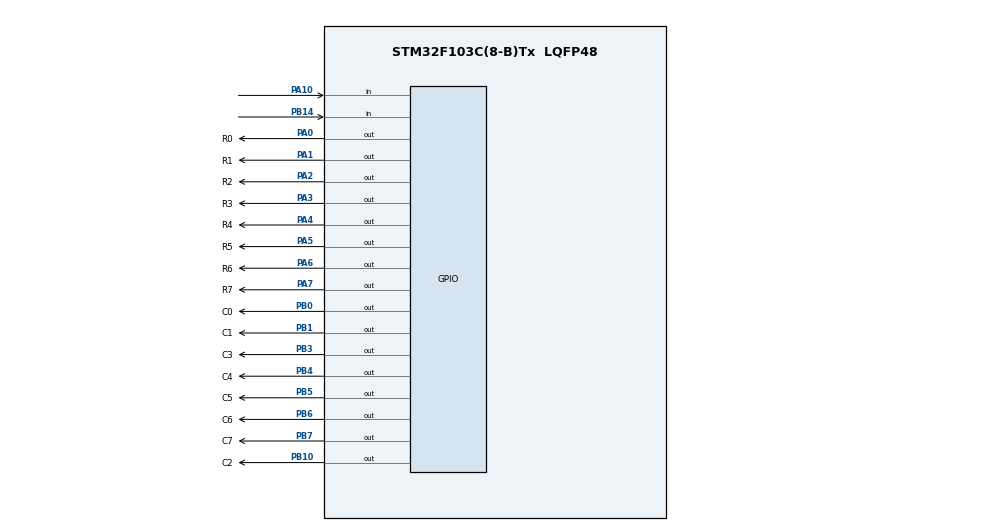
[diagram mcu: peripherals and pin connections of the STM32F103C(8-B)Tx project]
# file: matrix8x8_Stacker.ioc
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Mcu.Family=STM32F1
Mcu.Name=STM32F103C(8-B)Tx
Mcu.Package=LQFP48
NVIC.PriorityGroup=NVIC_PRIORITYGROUP_4
PA0-WKUP.GPIO_Label=R0
PA0-WKUP.Signal=GPIO_Output
PA1.GPIO_Label=R1
PA1.Signal=GPIO_Output
PA10.Signal=GPIO_Input
PA2.GPIO_Label=R2
PA2.Signal=GPIO_Output
PA3.GPIO_Label=R3
PA3.Signal=GPIO_Output
PA4.GPIO_Label=R4
PA4.Signal=GPIO_Output
PA5.GPIO_Label=R5
PA5.Signal=GPIO_Output
PA6.GPIO_Label=R6
PA6.Signal=GPIO_Output
PA7.GPIO_Label=R7
PA7.Signal=GPIO_Output
PB0.GPIO_Label=C0
PB0.Signal=GPIO_Output
PB1.GPIO_Label=C1
PB1.Signal=GPIO_Output
PB10.GPIO_Label=C2
PB10.Signal=GPIO_Output
PB14.Signal=GPIO_Input
PB3.GPIO_Label=C3
PB3.Signal=GPIO_Output
PB4.GPIO_Label=C4
PB4.Signal=GPIO_Output
PB5.GPIO_Label=C5
PB5.Signal=GPIO_Output
PB6.GPIO_Label=C6
PB6.Signal=GPIO_Output
PB7.GPIO_Label=C7
PB7.Signal=GPIO_Output
ProjectManager.HeapSize=0x200
ProjectManager.StackSize=0x400
ProjectManager.TargetToolchain=STM32CubeIDE
RCC.APB1Freq_Value=8000000
RCC.APB2Freq_Value=8000000
VP_SYS_VS_ND.Mode=No_Debug
board=custom

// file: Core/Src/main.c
/* USER CODE BEGIN Header */
/**
  ******************************************************************************
  * @file           : main.c
  * @brief          : Main program body
  ******************************************************************************
  * @attention
  *
  * Copyright (c) 2022 STMicroelectronics.
  * All rights reserved.
  *
  * This software is licensed under terms that can be found in the LICENSE file
  * in the root directory of this software component.
  * If no LICENSE file comes with this software, it is provided AS-IS.
  *
  ******************************************************************************
  */
/* USER CODE END Header */
#include "main.h"

void SystemClock_Config(void);
static void MX_GPIO_Init(void);

int main(void)
{

  /* MCU Configuration--------------------------------------------------------*/

  /* Reset of all peripherals, Initializes the Flash interface and the Systick. */
  HAL_Init();

  /* Configure the system clock */
  SystemClock_Config();

  /* Initialize all configured peripherals */
  MX_GPIO_Init();

  /* Infinite loop */
  /* USER CODE BEGIN WHILE */
  GPIO_PinState col[8][8];
  GPIO_PinState stack[8][8];

  int row_cnt = -1;
  int size = 3;
  int speed = 125;
  int butt = 1;
  int count = 0;
  int offset = 0;
  int dir = 1;
  int deb_cnt = 0;
  int deb = 25;
  int end_cnt = 0;
  int pause_cnt = 0;

  for (int i=0; i<8; i++){
	  for (int j=0; j<8; j++){
	  col[i][j] = GPIO_PIN_RESET;
	  }
  }

  for (int i=0; i<8; i++){
  	  for (int j=0; j<8; j++){
  	  stack[i][j] = GPIO_PIN_RESET;
  	  }
    }

  col[4][4] = GPIO_PIN_SET;
  HAL_GPIO_WritePin(GPIOA, GPIO_PIN_0, GPIO_PIN_SET);
  HAL_GPIO_WritePin(GPIOA, GPIO_PIN_1, GPIO_PIN_SET);
  HAL_GPIO_WritePin(GPIOA, GPIO_PIN_3, GPIO_PIN_SET);
  HAL_GPIO_WritePin(GPIOA, GPIO_PIN_4, GPIO_PIN_SET);
  HAL_GPIO_WritePin(GPIOA, GPIO_PIN_5, GPIO_PIN_SET);
  HAL_GPIO_WritePin(GPIOA, GPIO_PIN_6, GPIO_PIN_SET);
  HAL_GPIO_WritePin(GPIOA, GPIO_PIN_7, GPIO_PIN_SET);
  HAL_GPIO_WritePin(GPIOA, GPIO_PIN_8, GPIO_PIN_SET);
  while (HAL_GPIO_ReadPin(GPIOA, GPIO_PIN_10) == GPIO_PIN_SET)
  while (1)
  {
	  HAL_GPIO_WritePin(GPIOA, GPIO_PIN_0, GPIO_PIN_RESET);	//row 0 scan

	  HAL_GPIO_WritePin(GPIOB, GPIO_PIN_0, col[0][0]);
	  HAL_GPIO_WritePin(GPIOB, GPIO_PIN_1, col[0][1]);
	  HAL_GPIO_WritePin(GPIOB, GPIO_PIN_10, col[0][2]);
	  HAL_GPIO_WritePin(GPIOB, GPIO_PIN_3, col[0][3]);
	  HAL_GPIO_WritePin(GPIOB, GPIO_PIN_4, col[0][4]);
	  HAL_GPIO_WritePin(GPIOB, GPIO_PIN_5, col[0][5]);
	  HAL_GPIO_WritePin(GPIOB, GPIO_PIN_6, col[0][6]);
	  HAL_GPIO_WritePin(GPIOB, GPIO_PIN_7, col[0][7]);

	  HAL_GPIO_WritePin(GPIOB, GPIO_PIN_0, GPIO_PIN_RESET);
	  HAL_GPIO_WritePin(GPIOB, GPIO_PIN_1, GPIO_PIN_RESET);
	  HAL_GPIO_WritePin(GPIOB, GPIO_PIN_10, GPIO_PIN_RESET);
	  HAL_GPIO_WritePin(GPIOB, GPIO_PIN_3, GPIO_PIN_RESET);
	  HAL_GPIO_WritePin(GPIOB, GPIO_PIN_4, GPIO_PIN_RESET);
	  HAL_GPIO_WritePin(GPIOB, GPIO_PIN_5, GPIO_PIN_RESET);
	  HAL_GPIO_WritePin(GPIOB, GPIO_PIN_6, GPIO_PIN_RESET);
	  HAL_GPIO_WritePin(GPIOB, GPIO_PIN_7, GPIO_PIN_RESET);

	  HAL_GPIO_WritePin(GPIOA, GPIO_PIN_0, GPIO_PIN_SET);

	  HAL_GPIO_WritePin(GPIOA, GPIO_PIN_1, GPIO_PIN_RESET);	//row 1 scan

	  HAL_GPIO_WritePin(GPIOB, GPIO_PIN_0, col[1][0]);
	  HAL_GPIO_WritePin(GPIOB, GPIO_PIN_1, col[1][1]);
	  HAL_GPIO_WritePin(GPIOB, GPIO_PIN_10, col[1][2]);
	  HAL_GPIO_WritePin(GPIOB, GPIO_PIN_3, col[1][3]);
	  HAL_GPIO_WritePin(GPIOB, GPIO_PIN_4, col[1][4]);
	  HAL_GPIO_WritePin(GPIOB, GPIO_PIN_5, col[1][5]);
	  HAL_GPIO_WritePin(GPIOB, GPIO_PIN_6, col[1][6]);
	  HAL_GPIO_WritePin(GPIOB, GPIO_PIN_7, col[1][7]);

	  HAL_GPIO_WritePin(GPIOB, GPIO_PIN_0, GPIO_PIN_RESET);
	  HAL_GPIO_WritePin(GPIOB, GPIO_PIN_1, GPIO_PIN_RESET);
	  HAL_GPIO_WritePin(GPIOB, GPIO_PIN_10, GPIO_PIN_RESET);
	  HAL_GPIO_WritePin(GPIOB, GPIO_PIN_3, GPIO_PIN_RESET);
	  HAL_GPIO_WritePin(GPIOB, GPIO_PIN_4, GPIO_PIN_RESET);
	  HAL_GPIO_WritePin(GPIOB, GPIO_PIN_5, GPIO_PIN_RESET);
	  HAL_GPIO_WritePin(GPIOB, GPIO_PIN_6, GPIO_PIN_RESET);
	  HAL_GPIO_WritePin(GPIOB, GPIO_PIN_7, GPIO_PIN_RESET);

	  HAL_GPIO_WritePin(GPIOA, GPIO_PIN_1, GPIO_PIN_SET);

	  HAL_GPIO_WritePin(GPIOA, GPIO_PIN_2, GPIO_PIN_RESET);	//row 2 scan

	  HAL_GPIO_WritePin(GPIOB, GPIO_PIN_0, col[2][0]);
	  HAL_GPIO_WritePin(GPIOB, GPIO_PIN_1, col[2][1]);
	  HAL_GPIO_WritePin(GPIOB, GPIO_PIN_10, col[2][2]);
	  HAL_GPIO_WritePin(GPIOB, GPIO_PIN_3, col[2][3]);
	  HAL_GPIO_WritePin(GPIOB, GPIO_PIN_4, col[2][4]);
	  HAL_GPIO_WritePin(GPIOB, GPIO_PIN_5, col[2][5]);
	  HAL_GPIO_WritePin(GPIOB, GPIO_PIN_6, col[2][6]);
	  HAL_GPIO_WritePin(GPIOB, GPIO_PIN_7, col[2][7]);

	  HAL_GPIO_WritePin(GPIOB, GPIO_PIN_0, GPIO_PIN_RESET);
	  HAL_GPIO_WritePin(GPIOB, GPIO_PIN_1, GPIO_PIN_RESET);
	  HAL_GPIO_WritePin(GPIOB, GPIO_PIN_10, GPIO_PIN_RESET);
	  HAL_GPIO_WritePin(GPIOB, GPIO_PIN_3, GPIO_PIN_RESET);
	  HAL_GPIO_WritePin(GPIOB, GPIO_PIN_4, GPIO_PIN_RESET);
	  HAL_GPIO_WritePin(GPIOB, GPIO_PIN_5, GPIO_PIN_RESET);
	  HAL_GPIO_WritePin(GPIOB, GPIO_PIN_6, GPIO_PIN_RESET);
	  HAL_GPIO_WritePin(GPIOB, GPIO_PIN_7, GPIO_PIN_RESET);

	  HAL_GPIO_WritePin(GPIOA, GPIO_PIN_2, GPIO_PIN_SET);

	  HAL_GPIO_WritePin(GPIOA, GPIO_PIN_3, GPIO_PIN_RESET);	//row 3 scan

	  HAL_GPIO_WritePin(GPIOB, GPIO_PIN_0, col[3][0]);
	  HAL_GPIO_WritePin(GPIOB, GPIO_PIN_1, col[3][1]);
	  HAL_GPIO_WritePin(GPIOB, GPIO_PIN_10, col[3][2]);
	  HAL_GPIO_WritePin(GPIOB, GPIO_PIN_3, col[3][3]);
	  HAL_GPIO_WritePin(GPIOB, GPIO_PIN_4, col[3][4]);
	  HAL_GPIO_WritePin(GPIOB, GPIO_PIN_5, col[3][5]);
	  HAL_GPIO_WritePin(GPIOB, GPIO_PIN_6, col[3][6]);
	  HAL_GPIO_WritePin(GPIOB, GPIO_PIN_7, col[3][7]);

	  HAL_GPIO_WritePin(GPIOB, GPIO_PIN_0, GPIO_PIN_RESET);
	  HAL_GPIO_WritePin(GPIOB, GPIO_PIN_1, GPIO_PIN_RESET);
	  HAL_GPIO_WritePin(GPIOB, GPIO_PIN_10, GPIO_PIN_RESET);
	  HAL_GPIO_WritePin(GPIOB, GPIO_PIN_3, GPIO_PIN_RESET);
	  HAL_GPIO_WritePin(GPIOB, GPIO_PIN_4, GPIO_PIN_RESET);
	  HAL_GPIO_WritePin(GPIOB, GPIO_PIN_5, GPIO_PIN_RESET);
	  HAL_GPIO_WritePin(GPIOB, GPIO_PIN_6, GPIO_PIN_RESET);
	  HAL_GPIO_WritePin(GPIOB, GPIO_PIN_7, GPIO_PIN_RESET);

	  HAL_GPIO_WritePin(GPIOA, GPIO_PIN_3, GPIO_PIN_SET);

	  HAL_GPIO_WritePin(GPIOA, GPIO_PIN_4, GPIO_PIN_RESET);	//row 4 scan

	  HAL_GPIO_WritePin(GPIOB, GPIO_PIN_0, col[4][0]);
	  HAL_GPIO_WritePin(GPIOB, GPIO_PIN_1, col[4][1]);
	  HAL_GPIO_WritePin(GPIOB, GPIO_PIN_10, col[4][2]);
	  HAL_GPIO_WritePin(GPIOB, GPIO_PIN_3, col[4][3]);
	  HAL_GPIO_WritePin(GPIOB, GPIO_PIN_4, col[4][4]);
	  HAL_GPIO_WritePin(GPIOB, GPIO_PIN_5, col[4][5]);
	  HAL_GPIO_WritePin(GPIOB, GPIO_PIN_6, col[4][6]);
	  HAL_GPIO_WritePin(GPIOB, GPIO_PIN_7, col[4][7]);

	  HAL_GPIO_WritePin(GPIOB, GPIO_PIN_0, GPIO_PIN_RESET);
	  HAL_GPIO_WritePin(GPIOB, GPIO_PIN_1, GPIO_PIN_RESET);
	  HAL_GPIO_WritePin(GPIOB, GPIO_PIN_10, GPIO_PIN_RESET);
	  HAL_GPIO_WritePin(GPIOB, GPIO_PIN_3, GPIO_PIN_RESET);
	  HAL_GPIO_WritePin(GPIOB, GPIO_PIN_4, GPIO_PIN_RESET);
	  HAL_GPIO_WritePin(GPIOB, GPIO_PIN_5, GPIO_PIN_RESET);
	  HAL_GPIO_WritePin(GPIOB, GPIO_PIN_6, GPIO_PIN_RESET);
	  HAL_GPIO_WritePin(GPIOB, GPIO_PIN_7, GPIO_PIN_RESET);

	  HAL_GPIO_WritePin(GPIOA, GPIO_PIN_4, GPIO_PIN_SET);

	  HAL_GPIO_WritePin(GPIOA, GPIO_PIN_5, GPIO_PIN_RESET);	//row 5 scan

	  HAL_GPIO_WritePin(GPIOB, GPIO_PIN_0, col[5][0]);
	  HAL_GPIO_WritePin(GPIOB, GPIO_PIN_1, col[5][1]);
	  HAL_GPIO_WritePin(GPIOB, GPIO_PIN_10, col[5][2]);
	  HAL_GPIO_WritePin(GPIOB, GPIO_PIN_3, col[5][3]);
	  HAL_GPIO_WritePin(GPIOB, GPIO_PIN_4, col[5][4]);
	  HAL_GPIO_WritePin(GPIOB, GPIO_PIN_5, col[5][5]);
	  HAL_GPIO_WritePin(GPIOB, GPIO_PIN_6, col[5][6]);
	  HAL_GPIO_WritePin(GPIOB, GPIO_PIN_7, col[5][7]);

	  HAL_GPIO_WritePin(GPIOB, GPIO_PIN_0, GPIO_PIN_RESET);
	  HAL_GPIO_WritePin(GPIOB, GPIO_PIN_1, GPIO_PIN_RESET);
	  HAL_GPIO_WritePin(GPIOB, GPIO_PIN_10, GPIO_PIN_RESET);
	  HAL_GPIO_WritePin(GPIOB, GPIO_PIN_3, GPIO_PIN_RESET);
	  HAL_GPIO_WritePin(GPIOB, GPIO_PIN_4, GPIO_PIN_RESET);
	  HAL_GPIO_WritePin(GPIOB, GPIO_PIN_5, GPIO_PIN_RESET);
	  HAL_GPIO_WritePin(GPIOB, GPIO_PIN_6, GPIO_PIN_RESET);
	  HAL_GPIO_WritePin(GPIOB, GPIO_PIN_7, GPIO_PIN_RESET);

	  HAL_GPIO_WritePin(GPIOA, GPIO_PIN_5, GPIO_PIN_SET);

	  HAL_GPIO_WritePin(GPIOA, GPIO_PIN_6, GPIO_PIN_RESET);	//row 6 scan

	  HAL_GPIO_WritePin(GPIOB, GPIO_PIN_0, col[6][0]);
	  HAL_GPIO_WritePin(GPIOB, GPIO_PIN_1, col[6][1]);
	  HAL_GPIO_WritePin(GPIOB, GPIO_PIN_10, col[6][2]);
	  HAL_GPIO_WritePin(GPIOB, GPIO_PIN_3, col[6][3]);
	  HAL_GPIO_WritePin(GPIOB, GPIO_PIN_4, col[6][4]);
	  HAL_GPIO_WritePin(GPIOB, GPIO_PIN_5, col[6][5]);
	  HAL_GPIO_WritePin(GPIOB, GPIO_PIN_6, col[6][6]);
	  HAL_GPIO_WritePin(GPIOB, GPIO_PIN_7, col[6][7]);

	  HAL_GPIO_WritePin(GPIOB, GPIO_PIN_0, GPIO_PIN_RESET);
	  HAL_GPIO_WritePin(GPIOB, GPIO_PIN_1, GPIO_PIN_RESET);
	  HAL_GPIO_WritePin(GPIOB, GPIO_PIN_10, GPIO_PIN_RESET);
	  HAL_GPIO_WritePin(GPIOB, GPIO_PIN_3, GPIO_PIN_RESET);
	  HAL_GPIO_WritePin(GPIOB, GPIO_PIN_4, GPIO_PIN_RESET);
	  HAL_GPIO_WritePin(GPIOB, GPIO_PIN_5, GPIO_PIN_RESET);
	  HAL_GPIO_WritePin(GPIOB, GPIO_PIN_6, GPIO_PIN_RESET);
	  HAL_GPIO_WritePin(GPIOB, GPIO_PIN_7, GPIO_PIN_RESET);

	  HAL_GPIO_WritePin(GPIOA, GPIO_PIN_6, GPIO_PIN_SET);

	  HAL_GPIO_WritePin(GPIOA, GPIO_PIN_7, GPIO_PIN_RESET);	//row 7 scan

	  HAL_GPIO_WritePin(GPIOB, GPIO_PIN_0, col[7][0]);
	  HAL_GPIO_WritePin(GPIOB, GPIO_PIN_1, col[7][1]);
	  HAL_GPIO_WritePin(GPIOB, GPIO_PIN_10, col[7][2]);
	  HAL_GPIO_WritePin(GPIOB, GPIO_PIN_3, col[7][3]);
	  HAL_GPIO_WritePin(GPIOB, GPIO_PIN_4, col[7][4]);
	  HAL_GPIO_WritePin(GPIOB, GPIO_PIN_5, col[7][5]);
	  HAL_GPIO_WritePin(GPIOB, GPIO_PIN_6, col[7][6]);
	  HAL_GPIO_WritePin(GPIOB, GPIO_PIN_7, col[7][7]);

	  HAL_GPIO_WritePin(GPIOB, GPIO_PIN_0, GPIO_PIN_RESET);
	  HAL_GPIO_WritePin(GPIOB, GPIO_PIN_1, GPIO_PIN_RESET);
	  HAL_GPIO_WritePin(GPIOB, GPIO_PIN_10, GPIO_PIN_RESET);
	  HAL_GPIO_WritePin(GPIOB, GPIO_PIN_3, GPIO_PIN_RESET);
	  HAL_GPIO_WritePin(GPIOB, GPIO_PIN_4, GPIO_PIN_RESET);
	  HAL_GPIO_WritePin(GPIOB, GPIO_PIN_5, GPIO_PIN_RESET);
	  HAL_GPIO_WritePin(GPIOB, GPIO_PIN_6, GPIO_PIN_RESET);
	  HAL_GPIO_WritePin(GPIOB, GPIO_PIN_7, GPIO_PIN_RESET);

	  HAL_GPIO_WritePin(GPIOA, GPIO_PIN_7, GPIO_PIN_SET);

	  HAL_Delay(1);

	  //START
	  if (row_cnt == -1){
		  for (int i=0; i<8; i++){
			  for (int j=0; j<8; j++){
					  col[i][j] = GPIO_PIN_SET;
			  }
		  }
		  if (butt == 0){
			  row_cnt++;
			  butt = 2;
		  }
	  }

	  //PAUSE & UPDATE ROW
	  else if (row_cnt > 10){
		  if (pause_cnt == 750){
			  row_cnt += -20;
			  pause_cnt = 0;
			  for (int i=0; i<8; i++){
				  if (row_cnt > 0 && col[row_cnt][i] == GPIO_PIN_SET && col[row_cnt-1][i] == GPIO_PIN_RESET){
					  size -= 1;
					  col[row_cnt][i] = GPIO_PIN_RESET;
				  }
			  }
			  for (int i=0; i<8; i++){
				  for (int j=0; j<8; j++){
						  stack[i][j] = col[i][j];
				  }
			  }
			  count = 0;
			  offset = 0;
			  speed *= 0.75;
			  row_cnt++;
		  }
		  pause_cnt++;
	  }

	  //END
	  else if (row_cnt == 8){
		  if (size == 0){
			  main();
		  }
		  if (end_cnt > 1250){
			  speed = 60;
			  for (int i=0; i<8; i++){
				  for (int j=0; j<8; j++){
						  col[i][j] = GPIO_PIN_RESET;
				  }
			  }
			  if (offset == 7){
				  dir = -1;
			  }
			  if (offset == 0){
				  dir = 1;
			  }
			  if (count == speed){
				  offset += dir;
				  count = 0;
			  }
			  for (int i=0; i<8; i++){
				  col[offset][i] = GPIO_PIN_SET;
			  }
			  count++;
			  if (butt == 0){
				  butt = 2;
				  main();
			  }
		  }
		  end_cnt++;
	  }

	  //GAMING
	  else{
		  if (size == 0){
			  main();
		  }
		  for (int i=0; i<8; i++){
			  for (int j=0; j<8; j++){
					  col[i][j] = stack[i][j];
			  }
		  }
		  if (offset+size > 7){
			  dir = -1;
		  }
		  if (offset == 0){
			  dir = 1;
		  }
		  for (int i=offset; i<size+offset; i++){
			  col[row_cnt][i] = GPIO_PIN_SET;
		  }
		  count++;
		  if (count == speed){
			  offset+=dir;
			  count = 0;
		  }
		  if (butt == 0){
			  butt = 2;
			  row_cnt += 20;
		  }
	  }

	  //BUTTON CHECK
	  if (HAL_GPIO_ReadPin(GPIOA, GPIO_PIN_10) == GPIO_PIN_RESET && butt == 1){
		  butt = 0;
	  }

	  else if (HAL_GPIO_ReadPin(GPIOA, GPIO_PIN_10) == GPIO_PIN_RESET && butt == 0){
		  butt = 2;
	  }

	  if (HAL_GPIO_ReadPin(GPIOA, GPIO_PIN_10) == GPIO_PIN_SET){
		  deb_cnt++;
		  if (deb_cnt == deb){
			  butt = 1;
			  deb_cnt = 0;
		  }
	  }

    /* USER CODE END WHILE */

  }
}

void SystemClock_Config(void)
{
  RCC_OscInitTypeDef RCC_OscInitStruct = {0};
  RCC_ClkInitTypeDef RCC_ClkInitStruct = {0};

  /** Initializes the RCC Oscillators according to the specified parameters
  * in the RCC_OscInitTypeDef structure.
  */
  RCC_OscInitStruct.OscillatorType = RCC_OSCILLATORTYPE_HSI;
  RCC_OscInitStruct.HSIState = RCC_HSI_ON;
  RCC_OscInitStruct.HSICalibrationValue = RCC_HSICALIBRATION_DEFAULT;
  RCC_OscInitStruct.PLL.PLLState = RCC_PLL_NONE;
  if (HAL_RCC_OscConfig(&RCC_OscInitStruct) != HAL_OK)
  {
    Error_Handler();
  }

  /** Initializes the CPU, AHB and APB buses clocks
  */
  RCC_ClkInitStruct.ClockType = RCC_CLOCKTYPE_HCLK|RCC_CLOCKTYPE_SYSCLK
                              |RCC_CLOCKTYPE_PCLK1|RCC_CLOCKTYPE_PCLK2;
  RCC_ClkInitStruct.SYSCLKSource = RCC_SYSCLKSOURCE_HSI;
  RCC_ClkInitStruct.AHBCLKDivider = RCC_SYSCLK_DIV1;
  RCC_ClkInitStruct.APB1CLKDivider = RCC_HCLK_DIV1;
  RCC_ClkInitStruct.APB2CLKDivider = RCC_HCLK_DIV1;

  if (HAL_RCC_ClockConfig(&RCC_ClkInitStruct, FLASH_LATENCY_0) != HAL_OK)
  {
    Error_Handler();
  }
}

static void MX_GPIO_Init(void)
{
  GPIO_InitTypeDef GPIO_InitStruct = {0};

  /* GPIO Ports Clock Enable */
  __HAL_RCC_GPIOA_CLK_ENABLE();
  __HAL_RCC_GPIOB_CLK_ENABLE();

  /*Configure GPIO pin Output Level */
  HAL_GPIO_WritePin(GPIOA, R0_Pin|R1_Pin|R2_Pin|R3_Pin
                          |R4_Pin|R5_Pin|R6_Pin|R7_Pin, GPIO_PIN_RESET);

  /*Configure GPIO pin Output Level */
  HAL_GPIO_WritePin(GPIOB, C0_Pin|C1_Pin|C2_Pin|C3_Pin
                          |C4_Pin|C5_Pin|C6_Pin|C7_Pin, GPIO_PIN_RESET);

  /*Configure GPIO pins : R0_Pin R1_Pin R2_Pin R3_Pin
                           R4_Pin R5_Pin R6_Pin R7_Pin */
  GPIO_InitStruct.Pin = R0_Pin|R1_Pin|R2_Pin|R3_Pin
                          |R4_Pin|R5_Pin|R6_Pin|R7_Pin;
  GPIO_InitStruct.Mode = GPIO_MODE_OUTPUT_PP;
  GPIO_InitStruct.Pull = GPIO_NOPULL;
  GPIO_InitStruct.Speed = GPIO_SPEED_FREQ_LOW;
  HAL_GPIO_Init(GPIOA, &GPIO_InitStruct);

  /*Configure GPIO pins : C0_Pin C1_Pin C2_Pin C3_Pin
                           C4_Pin C5_Pin C6_Pin C7_Pin */
  GPIO_InitStruct.Pin = C0_Pin|C1_Pin|C2_Pin|C3_Pin
                          |C4_Pin|C5_Pin|C6_Pin|C7_Pin;
  GPIO_InitStruct.Mode = GPIO_MODE_OUTPUT_PP;
  GPIO_InitStruct.Pull = GPIO_NOPULL;
  GPIO_InitStruct.Speed = GPIO_SPEED_FREQ_LOW;
  HAL_GPIO_Init(GPIOB, &GPIO_InitStruct);

  /*Configure GPIO pin : PB14 */
  GPIO_InitStruct.Pin = GPIO_PIN_14;
  GPIO_InitStruct.Mode = GPIO_MODE_INPUT;
  GPIO_InitStruct.Pull = GPIO_NOPULL;
  HAL_GPIO_Init(GPIOB, &GPIO_InitStruct);

  /*Configure GPIO pin : PA10 */
  GPIO_InitStruct.Pin = GPIO_PIN_10;
  GPIO_InitStruct.Mode = GPIO_MODE_INPUT;
  GPIO_InitStruct.Pull = GPIO_NOPULL;
  HAL_GPIO_Init(GPIOA, &GPIO_InitStruct);

}

void Error_Handler(void)
{
  __disable_irq();
  while (1)
  {
  }
}
